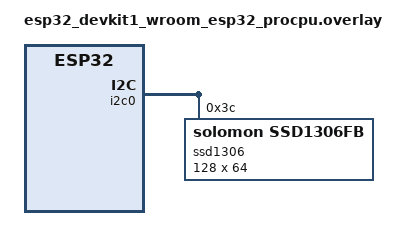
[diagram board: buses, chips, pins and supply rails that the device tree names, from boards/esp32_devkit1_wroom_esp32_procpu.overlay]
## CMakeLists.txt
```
# SPDX-License-Identifier: Apache-2.0

cmake_minimum_required(VERSION 3.20.0)
find_package(Zephyr REQUIRED HINTS $ENV{ZEPHYR_BASE})
project(display_oled_ssd1306)

target_sources(app PRIVATE src/main.c)
```

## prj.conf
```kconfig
CONFIG_I2C=y
CONFIG_DISPLAY=y
CONFIG_SSD1306=y
# CONFIG_SSD1306_DEFAULT=y
CONFIG_SSD1306_DEFAULT_CONTRAST=128
CONFIG_LOG=y
```

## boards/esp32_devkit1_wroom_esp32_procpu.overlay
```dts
&i2c0 {
      ssd1306: ssd1306@3c {
      	   compatible = "solomon,ssd1306fb";
	       reg = <0x3c>;
	       height = <64>;
	       width = <128>;
	       segment-offset = <0>;
	       page-offset = <0>;
	       display-offset = <0>;
	       multiplex-ratio = <63>;
	       prechargep = <0x22>;
	       com-invdir;
	       segment-remap;
      };
};
```

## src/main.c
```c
#include <stdint.h>
#include <zephyr/device.h>
#include <zephyr/kernel.h>
#include <zephyr/drivers/display.h>
#include <zephyr/logging/log.h>

#include "batman.h"

#define DISPLAY_BUFFER_PITCH 128

LOG_MODULE_REGISTER(display);

static const struct device *display = DEVICE_DT_GET(DT_NODELABEL(ssd1306));

void main(void)
{
	if(display == NULL)
	{
		LOG_ERR("Display device pointer is NULL!");
		return;
	}

	if(!device_is_ready(display))
	{
		LOG_ERR("Display device is not ready!");
		return;
	}

	struct display_capabilities info;
	display_get_capabilities(display, &info);

	const struct display_buffer_descriptor buffer_descriptor = {
		.width = info.x_resolution,
		.height = info.y_resolution,
		.buf_size = info.x_resolution * info.y_resolution,
		.pitch = DISPLAY_BUFFER_PITCH
	};

	LOG_INF("Display Capabilities Report:");
	LOG_INF("Resolution X,Y: %d, %d", info.x_resolution, info.y_resolution);
	LOG_INF("Current Orientation: %d", info.current_orientation);
	LOG_INF("Screen Info: %d", info.screen_info);
	LOG_INF("Supported Pixel Formats: %d", info.supported_pixel_formats);
	LOG_INF("Current Pixel Format: %d", info.current_pixel_format);

	if(display_write(display, 0, 0, &buffer_descriptor, batman_buffer) != 0)
	{
		LOG_ERR("Could not write to display!");
	}

	if(display_set_contrast(display, 0) != 0)
	{
		LOG_ERR("Could not set display contrast!");
	}

	while(true) 
	{
		// Increase Brightness
		for (size_t i = 0; i < 255; i++) {
			display_set_contrast(display, i);
			k_sleep(K_MSEC(5));
		}

		// Decrease Brightness
		for (size_t i = 255; i > 0; i--) {
			display_set_contrast(display, i);
			k_sleep(K_MSEC(5));
		}
	}
}
```

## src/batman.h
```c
uint8_t batman_buffer[1024] = {
	0x00, 0x00, 0x00, 0x00, 0x00, 0x00, 0x00, 0x00, 0x00, 0x00, 0x00, 0x00, 0x00, 0x00, 0x00, 0x00, 
	0x00, 0x00, 0x00, 0x00, 0x00, 0x00, 0x00, 0x00, 0x00, 0x00, 0x00, 0x00, 0x00, 0x00, 0x00, 0x00, 
	0x00, 0x00, 0x00, 0x00, 0x00, 0x00, 0x00, 0x00, 0x00, 0x00, 0x00, 0x00, 0x00, 0x00, 0x00, 0x00, 
	0x00, 0x00, 0x00, 0x00, 0x00, 0x00, 0x00, 0x00, 0x00, 0x00, 0x00, 0x00, 0x00, 0x00, 0x00, 0x00, 
	0x00, 0x00, 0x00, 0x00, 0x00, 0x00, 0x00, 0x00, 0x00, 0x00, 0x00, 0x00, 0x00, 0x00, 0x00, 0x00, 
	0x00, 0x00, 0x00, 0x00, 0x00, 0x00, 0x00, 0x00, 0x00, 0x00, 0x00, 0x00, 0x00, 0x00, 0x00, 0x00, 
	0x00, 0x00, 0x00, 0x00, 0x00, 0x00, 0x00, 0x00, 0x00, 0x00, 0x00, 0x00, 0x00, 0x00, 0x00, 0x00, 
	0x00, 0x00, 0x00, 0x00, 0x00, 0x00, 0x00, 0x00, 0x00, 0x00, 0x00, 0x00, 0x00, 0x00, 0x00, 0x00, 
	0x00, 0x00, 0x00, 0x00, 0x00, 0x00, 0x00, 0x00, 0x00, 0x00, 0x00, 0x00, 0x00, 0x00, 0x00, 0x00, 
	0x00, 0x00, 0x00, 0x00, 0x00, 0x00, 0x00, 0x00, 0x00, 0x00, 0x00, 0x00, 0x00, 0x00, 0x00, 0x80, 
	0x80, 0xc0, 0xc0, 0xe0, 0xe0, 0xe0, 0x70, 0x70, 0x30, 0x38, 0x38, 0x18, 0xdc, 0xfc, 0xfc, 0xfc, 
	0xfc, 0xfe, 0xfe, 0xfe, 0xfe, 0xfe, 0xfe, 0xfe, 0xfe, 0xfe, 0x07, 0x0f, 0x1f, 0xff, 0xff, 0xff, 
	0xff, 0xff, 0xff, 0x3f, 0x0f, 0x07, 0xfe, 0xfe, 0xfe, 0xfe, 0xfe, 0xfe, 0xfe, 0xfe, 0xfe, 0xfc, 
	0xfc, 0xfc, 0xfc, 0xdc, 0x98, 0x38, 0x38, 0x30, 0x70, 0x70, 0xf0, 0xe0, 0xe0, 0xc0, 0xc0, 0x80, 
	0x80, 0x80, 0x00, 0x00, 0x00, 0x00, 0x00, 0x00, 0x00, 0x00, 0x00, 0x00, 0x00, 0x00, 0x00, 0x00, 
	0x00, 0x00, 0x00, 0x00, 0x00, 0x00, 0x00, 0x00, 0x00, 0x00, 0x00, 0x00, 0x00, 0x00, 0x00, 0x00, 
	0x00, 0x00, 0x00, 0x00, 0x00, 0x00, 0x00, 0x00, 0x00, 0x00, 0x00, 0x00, 0x00, 0x00, 0x00, 0x00, 
	0x00, 0x00, 0x00, 0x00, 0x80, 0xc0, 0xe0, 0xf0, 0x78, 0x38, 0x3c, 0x1e, 0x0e, 0x0f, 0x07, 0x03, 
	0x03, 0x01, 0x01, 0x00, 0x00, 0x00, 0x00, 0x00, 0x00, 0x00, 0x1c, 0x7f, 0xff, 0xff, 0xff, 0xff, 
	0xff, 0xff, 0xff, 0xff, 0xff, 0xff, 0xff, 0xff, 0xff, 0x03, 0x00, 0x00, 0x00, 0x00, 0x00, 0x00, 
	0x00, 0x00, 0x00, 0x00, 0x00, 0x00, 0x01, 0x7f, 0xff, 0xff, 0xff, 0xff, 0xff, 0xff, 0xff, 0xff, 
	0xff, 0xff, 0xff, 0xff, 0xff, 0x3e, 0x00, 0x00, 0x00, 0x00, 0x00, 0x00, 0x00, 0x01, 0x01, 0x03, 
	0x03, 0x07, 0x07, 0x0f, 0x1e, 0x1c, 0x3c, 0x78, 0xf0, 0xe0, 0xc0, 0x80, 0x00, 0x00, 0x00, 0x00, 
	0x00, 0x00, 0x00, 0x00, 0x00, 0x00, 0x00, 0x00, 0x00, 0x00, 0x00, 0x00, 0x00, 0x00, 0x00, 0x00, 
	0x00, 0x00, 0x00, 0x00, 0x00, 0x00, 0x00, 0x00, 0x00, 0x00, 0x00, 0x00, 0x00, 0x00, 0x00, 0x00, 
	0xe0, 0xf8, 0xfe, 0x1f, 0x0f, 0x03, 0x01, 0x00, 0x00, 0x00, 0x00, 0x00, 0x00, 0x00, 0x00, 0x00, 
	0x00, 0x00, 0x00, 0x00, 0x00, 0x00, 0x00, 0x00, 0x00, 0x00, 0x00, 0x00, 0x01, 0x03, 0x03, 0x07, 
	0x07, 0x07, 0x07, 0x07, 0x07, 0x07, 0x07, 0x03, 0x00, 0x00, 0x00, 0x00, 0x00, 0x00, 0x00, 0x00, 
	0x00, 0x00, 0x00, 0x00, 0x00, 0x00, 0x00, 0x00, 0x03, 0x07, 0x07, 0x07, 0x07, 0x07, 0x07, 0x07, 
	0x07, 0x07, 0x03, 0x01, 0x00, 0x00, 0x00, 0x00, 0x00, 0x00, 0x00, 0x00, 0x00, 0x00, 0x00, 0x00, 
	0x00, 0x00, 0x00, 0x00, 0x00, 0x00, 0x00, 0x00, 0x00, 0x01, 0x03, 0x07, 0x1f, 0xfe, 0xf8, 0xe0, 
	0x00, 0x00, 0x00, 0x00, 0x00, 0x00, 0x00, 0x00, 0x00, 0x00, 0x00, 0x00, 0x00, 0x00, 0x00, 0x00, 
	0x00, 0x00, 0x00, 0x00, 0x00, 0x00, 0x00, 0x00, 0x00, 0x00, 0x00, 0x00, 0x00, 0x00, 0x00, 0x1e, 
	0xff, 0xff, 0xc0, 0x00, 0x00, 0x00, 0x00, 0x00, 0x00, 0x00, 0x00, 0x00, 0x00, 0x00, 0x00, 0x00, 
	0x00, 0x00, 0x00, 0x00, 0x00, 0x00, 0x00, 0x00, 0x00, 0x00, 0x00, 0x00, 0x00, 0x00, 0x00, 0x00, 
	0x00, 0x00, 0x00, 0x00, 0x00, 0x00, 0x00, 0x00, 0x00, 0x00, 0x00, 0x00, 0x00, 0x00, 0x00, 0x00, 
	0x00, 0x00, 0x00, 0x00, 0x00, 0x00, 0x00, 0x00, 0x00, 0x00, 0x00, 0x00, 0x00, 0x00, 0x00, 0x00, 
	0x00, 0x00, 0x00, 0x00, 0x00, 0x00, 0x00, 0x00, 0x00, 0x00, 0x00, 0x00, 0x00, 0x00, 0x00, 0x00, 
	0x00, 0x00, 0x00, 0x00, 0x00, 0x00, 0x00, 0x00, 0x00, 0x00, 0x00, 0x00, 0x00, 0xc0, 0xff, 0xff, 
	0x3f, 0x00, 0x00, 0x00, 0x00, 0x00, 0x00, 0x00, 0x00, 0x00, 0x00, 0x00, 0x00, 0x00, 0x00, 0x00, 
	0x00, 0x00, 0x00, 0x00, 0x00, 0x00, 0x00, 0x00, 0x00, 0x00, 0x00, 0x00, 0x00, 0x00, 0x00, 0x00, 
	0x01, 0x07, 0x1f, 0x3e, 0x78, 0xe0, 0xc0, 0x80, 0x00, 0x00, 0x00, 0x00, 0x00, 0x00, 0x00, 0x00, 
	0x00, 0x00, 0x00, 0xe0, 0xe0, 0xf0, 0xf0, 0xf0, 0xf0, 0xf0, 0xe0, 0xe0, 0xc0, 0x80, 0x80, 0x00, 
	0x00, 0xc0, 0xe0, 0xe0, 0xf0, 0xf0, 0xe0, 0xe0, 0xc0, 0x80, 0x00, 0x00, 0x00, 0x00, 0x00, 0x00, 
	0x00, 0x00, 0x00, 0x00, 0x00, 0x00, 0x80, 0xc0, 0xe0, 0xe0, 0xf0, 0xf0, 0xe0, 0xe0, 0xc0, 0x00, 
	0x00, 0x00, 0x80, 0xc0, 0xe0, 0xe0, 0xf0, 0xf0, 0xf0, 0xf0, 0xf0, 0xf0, 0xe0, 0x80, 0x00, 0x00, 
	0x00, 0x00, 0x00, 0x00, 0x00, 0x00, 0x00, 0x00, 0x80, 0xc0, 0xe0, 0xf0, 0x3c, 0x1f, 0x0f, 0x01, 
	0x00, 0x00, 0x00, 0x00, 0x00, 0x00, 0x00, 0x00, 0x00, 0x00, 0x00, 0x00, 0x00, 0x00, 0x00, 0x00, 
	0x00, 0x00, 0x00, 0x00, 0x00, 0x00, 0x00, 0x00, 0x00, 0x00, 0x00, 0x00, 0x00, 0x00, 0x00, 0x00, 
	0x00, 0x00, 0x00, 0x00, 0x00, 0x00, 0x01, 0x03, 0x07, 0x0e, 0x0c, 0x1c, 0x38, 0x30, 0x70, 0x60, 
	0xe0, 0xc0, 0xc0, 0xc7, 0x9f, 0xff, 0xff, 0xff, 0xff, 0xff, 0xff, 0xff, 0xff, 0xff, 0xff, 0xff, 
	0xff, 0xff, 0xff, 0xff, 0xff, 0xff, 0xff, 0xff, 0xff, 0xff, 0xff, 0xfe, 0xfc, 0xf0, 0xc0, 0x00, 
	0x00, 0xc0, 0xf0, 0xf8, 0xfe, 0xff, 0xff, 0xff, 0xff, 0xff, 0xff, 0xff, 0xff, 0xff, 0xff, 0xff, 
	0xfe, 0xff, 0xff, 0xff, 0xff, 0xff, 0xff, 0xff, 0xff, 0xff, 0xff, 0x9f, 0xc7, 0xc1, 0xc0, 0xe0, 
	0x60, 0x70, 0x30, 0x38, 0x18, 0x1c, 0x0e, 0x07, 0x03, 0x03, 0x01, 0x00, 0x00, 0x00, 0x00, 0x00, 
	0x00, 0x00, 0x00, 0x00, 0x00, 0x00, 0x00, 0x00, 0x00, 0x00, 0x00, 0x00, 0x00, 0x00, 0x00, 0x00, 
	0x00, 0x00, 0x00, 0x00, 0x00, 0x00, 0x00, 0x00, 0x00, 0x00, 0x00, 0x00, 0x00, 0x00, 0x00, 0x00, 
	0x00, 0x00, 0x00, 0x00, 0x00, 0x00, 0x00, 0x00, 0x00, 0x00, 0x00, 0x00, 0x00, 0x00, 0x00, 0x00, 
	0x00, 0x00, 0x01, 0x01, 0x03, 0x03, 0x03, 0x07, 0x07, 0x07, 0x07, 0x0f, 0x0f, 0x0f, 0x0f, 0x1f, 
	0x1f, 0x1f, 0x1f, 0x1f, 0x1f, 0x3f, 0x3f, 0x3f, 0x3f, 0x3f, 0x3f, 0x3f, 0x3f, 0x3f, 0x3f, 0x3f, 
	0x3f, 0x3f, 0x3f, 0x3f, 0x3f, 0x3f, 0x3f, 0x3f, 0x3f, 0x3f, 0x3f, 0x1f, 0x1f, 0x1f, 0x1f, 0x1f, 
	0x1f, 0x0f, 0x0f, 0x0f, 0x0f, 0x0f, 0x07, 0x07, 0x07, 0x03, 0x03, 0x03, 0x01, 0x01, 0x00, 0x00, 
	0x00, 0x00, 0x00, 0x00, 0x00, 0x00, 0x00, 0x00, 0x00, 0x00, 0x00, 0x00, 0x00, 0x00, 0x00, 0x00, 
	0x00, 0x00, 0x00, 0x00, 0x00, 0x00, 0x00, 0x00, 0x00, 0x00, 0x00, 0x00, 0x00, 0x00, 0x00, 0x00
};
```
